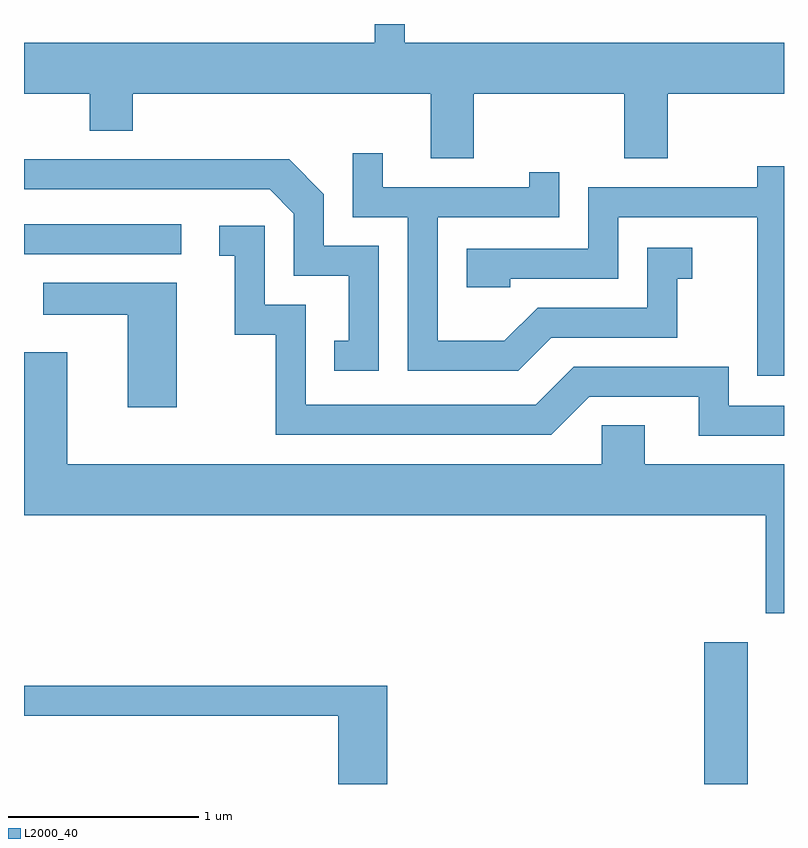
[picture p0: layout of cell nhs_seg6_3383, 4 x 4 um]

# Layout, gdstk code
import gdstk
lib = gdstk.Library(unit=1e-6, precision=1e-09)
def R(c, l, rs):  # rectangles x0, y0, x1, y1
    for r in rs: c.add(gdstk.rectangle(r[:2], r[2:], *l))
def P(c, l, *ps):  # polygons
    for p in ps: c.add(gdstk.Polygon(p, *l))
L2000_40 = (2000, 40)

nhs_seg6_3383 = lib.new_cell('nhs_seg6_3383')
R(nhs_seg6_3383, L2000_40, [(291.191,1564.162,291.419,1564.909), (287.611,1566.951,288.438,1567.109)])
P(nhs_seg6_3383, L2000_40, [(289.979,1567.796),(290.771,1567.796),(290.771,1567.456),(290.999,1567.456),(290.999,1567.796),(291.611,1567.796),(291.611,1568.064),(289.614,1568.064),(289.614,1568.162),(289.456,1568.162),(289.456,1568.064),(287.611,1568.064),(287.611,1567.796),(287.956,1567.796),(287.956,1567.601),(288.184,1567.601),(288.184,1567.796),(289.751,1567.796),(289.751,1567.456),(289.979,1567.456)],
  [(290.387,1566.511),(291.049,1566.511),(291.049,1566.821),(291.128,1566.821),(291.128,1566.984),(290.891,1566.984),(290.891,1566.669),(290.314,1566.669),(290.139,1566.494),(289.789,1566.494),(289.789,1567.146),(290.429,1567.146),(290.429,1567.383),(290.271,1567.383),(290.271,1567.304),(289.499,1567.304),(289.499,1567.483),(289.341,1567.483),(289.341,1567.146),(289.631,1567.146),(289.631,1566.336),(290.212,1566.336)],
  [(289.479,1566.994),(289.189,1566.994),(289.189,1567.267),(289.007,1567.449),(287.611,1567.449),(287.611,1567.291),(288.904,1567.291),(289.031,1567.164),(289.031,1566.836),(289.321,1566.836),(289.321,1566.494),(289.243,1566.494),(289.243,1566.336),(289.479,1566.336)],
  [(291.611,1567.414),(291.471,1567.414),(291.471,1567.304),(290.581,1567.304),(290.581,1566.979),(289.941,1566.979),(289.941,1566.776),(290.169,1566.776),(290.169,1566.821),(290.739,1566.821),(290.739,1567.146),(291.471,1567.146),(291.471,1566.311),(291.611,1566.311)],
  [(291.611,1566.154),(291.319,1566.154),(291.319,1566.359),(290.504,1566.359),(290.304,1566.159),(289.094,1566.159),(289.094,1566.684),(288.879,1566.684),(288.879,1567.099),(288.638,1567.099),(288.638,1566.941),(288.721,1566.941),(288.721,1566.526),(288.936,1566.526),(288.936,1566.001),(290.387,1566.001),(290.587,1566.201),(291.161,1566.201),(291.161,1565.996),(291.611,1565.996)],
  [(288.414,1566.799),(287.713,1566.799),(287.713,1566.631),(288.156,1566.631),(288.156,1566.146),(288.414,1566.146)],
  [(291.611,1565.844),(290.879,1565.844),(290.879,1566.049),(290.651,1566.049),(290.651,1565.844),(287.839,1565.844),(287.839,1566.434),(287.611,1566.434),(287.611,1565.576),(291.516,1565.576),(291.516,1565.061),(291.611,1565.061)],
  [(289.524,1564.679),(287.611,1564.679),(287.611,1564.521),(289.266,1564.521),(289.266,1564.162),(289.524,1564.162)])

lib.write_gds('nhs_seg6_3383.gds')
